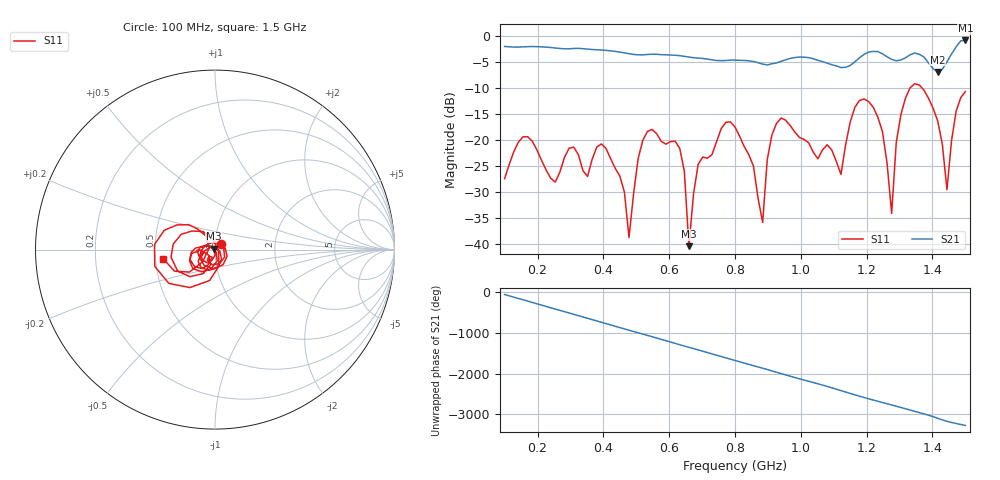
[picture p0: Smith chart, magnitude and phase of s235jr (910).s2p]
! NanoVNA-App
! Date: 2025-09-25 15:11:15
! Start: 100MHz Stop: 1,5GHz Points: 101
! S-Parameter data: F S11 S21 S12 S22
# Hz S RI R 50
!  Frequency  S11_Real  S11_Imag  S21_Real  S21_Imag  S12_Real  S12_Imag  S22_Real  S22_Imag
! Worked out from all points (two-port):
!   101 points, 100 MHz to 1.5 GHz, reference 50 ohm
!   highest |S21| = -0.81 dB at 1.5 GHz (marker M1); lowest = -6.9 dB at 1.416 GHz (marker M2)
!   |S21| within 3 dB of the highest: start of sweep to 639.1 MHz; 1.186 GHz to 1.258 GHz (72.81 MHz wide, 5.96 % of centre) (the widest 2 of 4)
!   lowest |S11| = -40.5 dB at 660 MHz (marker M3), VSWR 1.02, Z = 49.2 + j0.54 ohm
!   |S11| at or under -10 dB: start of sweep to 1.332 GHz; 1.368 GHz to end of sweep
!   S12 and S22 are empty: the file has one direction only
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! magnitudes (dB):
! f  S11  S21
! 100 MHz  -27.5  -2.0
! 156 MHz  -19.4  -2.0
! 338 MHz  -25.9  -2.4
! 408 MHz  -21.6  -2.7
! 478 MHz  -38.8  -3.4
! 520 MHz  -20.1  -3.6
! 576 MHz  -20.3  -3.6
! 632 MHz  -21.6  -3.7
! 660 MHz  -40.5  -4.0
! 688 MHz  -24.7  -4.2
! 800 MHz  -17.5  -4.6
! 884 MHz  -35.9  -5.4
! 926 MHz  -16.8  -5.2
! 1.038 GHz  -22.4  -4.3
! 1.122 GHz  -26.7  -6.0
! 1.206 GHz  -12.6  -3.1
! 1.276 GHz  -34.2  -4.5
! 1.29 GHz  -20.5  -4.7
! 1.332 GHz  -9.9  -3.6
! 1.416 GHz  -16.4  -6.9
! 1.444 GHz  -29.6  -4.9
! 1.5 GHz  -10.7  -0.8
